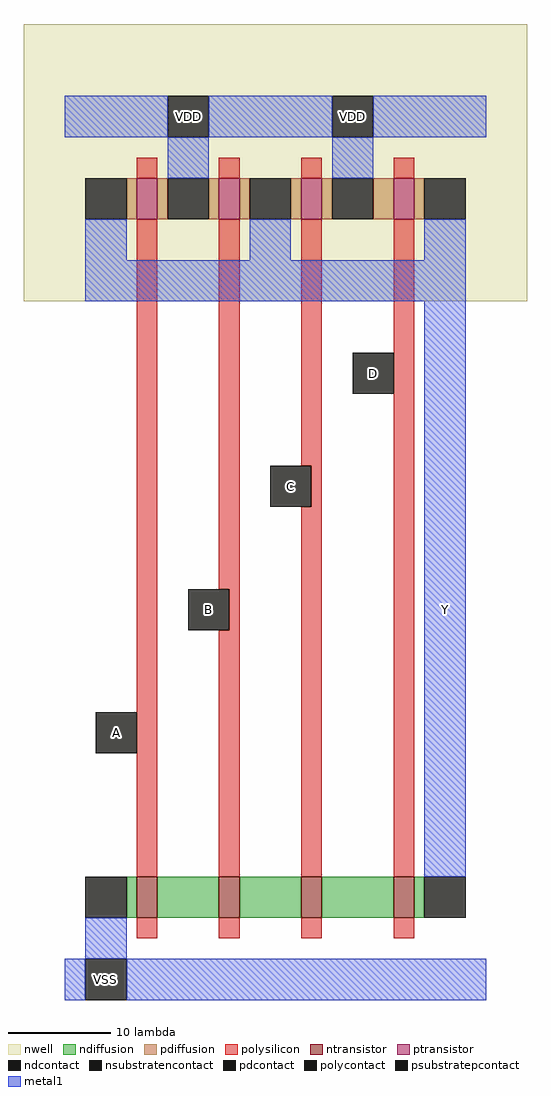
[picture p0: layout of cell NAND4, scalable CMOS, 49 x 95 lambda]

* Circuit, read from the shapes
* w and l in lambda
.subckt NAND4 A B C D VDD VSS Y
M1 n1 A VSS VSS nfet w=4 l=2
M2 n2 B n1 VSS nfet w=4 l=2
M3 n3 C n2 VSS nfet w=4 l=2
M4 Y D n3 VSS nfet w=4 l=2
M5 VDD A Y VDD pfet w=4 l=2
M6 Y B VDD VDD pfet w=4 l=2
M7 VDD C Y VDD pfet w=4 l=2
M8 Y D VDD VDD pfet w=4 l=2
.ends

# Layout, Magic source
magic
tech scmos
<< nwell >>
rect -4 68 45 95
<< ntransistor >>
rect 7 8 9 12
rect 15 8 17 12
rect 23 8 25 12
rect 32 8 34 12
<< ptransistor >>
rect 7 76 9 80
rect 15 76 17 80
rect 23 76 25 80
rect 32 76 34 80
<< ndiffusion >>
rect 6 8 7 12
rect 9 8 15 12
rect 17 8 23 12
rect 25 8 32 12
rect 34 8 35 12
<< pdiffusion >>
rect 6 76 7 80
rect 9 76 10 80
rect 14 76 15 80
rect 17 76 18 80
rect 22 76 23 80
rect 25 76 26 80
rect 30 76 32 80
rect 34 76 35 80
<< ndcontact >>
rect 2 8 6 12
rect 35 8 39 12
<< pdcontact >>
rect 2 76 6 80
rect 10 76 14 80
rect 18 76 22 80
rect 26 76 30 80
rect 35 76 39 80
<< psubstratepcontact >>
rect 2 0 6 4
<< nsubstratencontact >>
rect 10 84 14 88
rect 26 84 30 88
<< polysilicon >>
rect 7 80 9 82
rect 15 80 17 82
rect 23 80 25 82
rect 32 80 34 82
rect 7 12 9 76
rect 15 40 17 76
rect 23 52 25 76
rect 24 48 25 52
rect 16 36 17 40
rect 15 12 17 36
rect 23 12 25 48
rect 32 12 34 76
rect 7 6 9 8
rect 15 6 17 8
rect 23 6 25 8
rect 32 6 34 8
<< polycontact >>
rect 3 24 7 28
rect 28 59 32 63
rect 20 48 24 52
rect 12 36 16 40
<< metal1 >>
rect 0 84 10 88
rect 14 84 26 88
rect 30 84 41 88
rect 10 80 14 84
rect 26 80 30 84
rect 2 72 6 76
rect 18 72 22 76
rect 35 72 39 76
rect 2 68 39 72
rect 35 12 39 68
rect 2 4 6 8
rect 0 0 2 4
rect 6 0 41 4
<< labels >>
rlabel nsubstratencontact 12 86 12 86 1 VDD
rlabel nsubstratencontact 28 86 28 86 1 VDD
rlabel polycontact 5 26 5 26 1 A
rlabel polycontact 14 38 14 38 1 B
rlabel polycontact 22 50 22 50 1 C
rlabel polycontact 30 61 30 61 1 D
rlabel metal1 37 38 37 38 1 Y
rlabel psubstratepcontact 4 2 4 2 1 VSS
<< end >>
